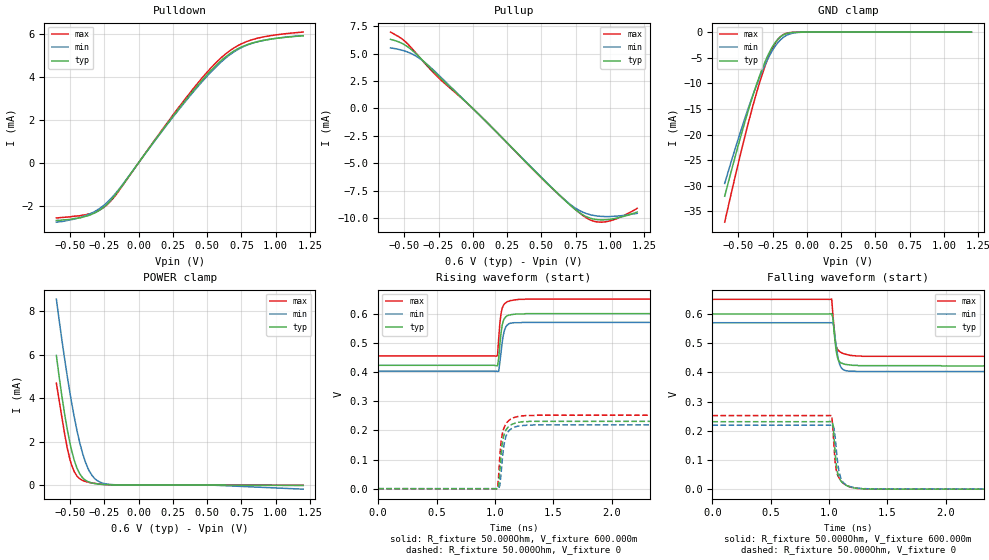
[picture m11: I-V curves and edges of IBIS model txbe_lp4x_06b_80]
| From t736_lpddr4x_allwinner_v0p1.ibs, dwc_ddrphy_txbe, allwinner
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[Model] txbe_lp4x_06b_80
Model_type   I/O
Polarity   Non-Inverting
Enable   Active-High
C_comp   1.525pF   1.517pF   1.532pF
C_comp_pullup   284.856fF   277.095fF   289.907fF
C_comp_pulldown 1.177pF   1.176pF   1.178pF
Vinh = 420.000mV
Vinl = 300.000mV
Vmeas = 360.000mV
Vref = 360.000mV
Rref = 50Ohms
Cref = 0pF
[Model Spec]
Vinh   420.000mV   402.000mV   450.000mV
Vinl   300.000mV   282.000mV   330.000mV
Vmeas   360.000mV   342.000mV   390.000mV
Vref   360.000mV   342.000mV   390.000mV
D_overshoot_ampl_h 0.1 NA   NA
D_overshoot_ampl_l 0.1 NA   NA
D_overshoot_area_l 300.000m NA   NA
D_overshoot_area_h 300.000m NA   NA
[Receiver Thresholds]
Vth = 180.000mV
Vth_min = 171.000mV
Vth_max = 195.000mV
Vinh_ac = 60.000mV
Vinh_dc = 60.000mV
Vinl_ac = -60.000mV
Vinl_dc = -60.000mV
Tslew_ac = 5.000ns
Threshold_sensitivity = 0.5
Reference_supply Pullup_ref
[Temperature Range]   25.000   125.000   -40.000
[Voltage Range]   600.000mV   570.000mV   650.000mV
[GND Clamp Reference]   0.00V   0.00V   0.00V
[C Comp Corner]
| variable   typ   min   max
C_comp 1.525pF   1.532pF   1.517pF
C_comp_pullup 284.856fF   289.907fF   277.095fF
C_comp_pulldown 1.176pF   1.177pF   1.178pF
[Pulldown Reference]   0.00V   0.00V   0.00V
[POWER Clamp Reference]   600.000mV   570.000mV   650.000mV
[Pullup Reference]   600.000mV   570.000mV   650.000mV
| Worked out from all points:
|   slope of the pulldown table from 0 to 0.09 V, typ, clamps not added: 113 ohm
|   slope of the pullup table from 0 to 0.09 V, typ, clamps not added: 81.7 ohm
|   GND clamp passes 1 mA (typ) near -0.20 V on its own axis
|   POWER clamp passes 1 mA (typ) near -0.46 V on its own axis
|   rising waveform, R_fixture 50.000Ohm, V_fixture 600.000m: 20-80 % time 30.2ps typ, 35ps min, 29.3ps max; typ from 0.423 V to 0.6 V
|   rising waveform, R_fixture 50.000Ohm, V_fixture 0: 20-80 % time 38.5ps typ, 40.6ps min, 38.9ps max; typ from 0 V to 0.231 V
|   falling waveform, R_fixture 50.000Ohm, V_fixture 600.000m: 20-80 % time 30.9ps typ, 36.9ps min, 29.1ps max; typ from 0.6 V to 0.423 V
|   falling waveform, R_fixture 50.000Ohm, V_fixture 0: 20-80 % time 38.9ps typ, 42.8ps min, 38.2ps max; typ from 0.231 V to 0 V
[GND Clamp]
-600mV    -32.03mA   -29.54mA   -37.09mA
-520mV    -23.95mA   -22.45mA   -27.77mA
-450mV    -17.29mA   -16.6mA    -20.07mA
-390mV    -12.04mA   -11.97mA   -13.96mA
-350mV    -8.872mA   -9.144mA   -10.26mA
-300mV    -5.434mA   -6.026mA   -6.213mA
-260mV    -3.228mA   -3.945mA   -3.604mA
-230mV    -1.962mA   -2.676mA   -2.109mA
-190mV    -840.1uA   -1.417mA   -811.3uA
-130mV    -154.6uA   -403.6uA   -107.3uA
-40mV     -4.876uA   -22.97uA   -1.917uA
1.2V      1.203uA    9.496uA    358.3nA
[Power Clamp]
-600mV    5.963mA    8.559mA    4.686mA
-560mV    4.101mA    6.693mA    3.134mA
-520mV    2.543mA    4.988mA    1.684mA
-500mV    1.903mA    4.207mA    1.151mA
-470mV    1.147mA    3.144mA    618.5uA
-430mV    519.2uA    1.962mA    289.2uA
-390mV    228.5uA    1.089mA    165.9uA
-340mV    92.83uA    440.3uA    93.34uA
-300mV    48.16uA    193.5uA    55.91uA
-170mV    2.644uA    10.52uA    3.018uA
530mV     -347.6nA   -6.316uA   -66.03nA
1.2V      -23.65uA   -191.6uA   -5.619uA
[Pulldown]
-600mV    -2.7mA     -2.78mA    -2.58mA
-370mV    -2.48mA    -2.43mA    -2.4mA
-280mV    -2.2mA     -2.118mA   -2.194mA
-210mV    -1.807mA   -1.732mA   -1.84mA
-130mV    -1.162mA   -1.128mA   -1.19mA
140mV     1.231mA    1.209mA    1.261mA
370mV     3.142mA    3.088mA    3.229mA
530mV     4.325mA    4.255mA    4.449mA
650mV     5.027mA    4.971mA    5.164mA
750mV     5.412mA    5.382mA    5.559mA
850mV     5.636mA    5.626mA    5.792mA
1.2V      5.936mA    5.94mA     6.109mA
[Pullup]
-600mV    6.286mA    5.512mA    6.948mA
-520mV    5.943mA    5.313mA    6.362mA
-470mV    5.567mA    5.106mA    5.812mA
-340mV    4.048mA    4.09mA     3.966mA
50mV      -607.8uA   -616.6uA   -599.2uA
620mV     -7.74mA    -7.718mA   -7.746mA
730mV     -9.009mA   -8.904mA   -8.981mA
810mV     -9.729mA   -9.468mA   -9.798mA
880mV     -10.06mA   -9.73mA    -10.25mA
970mV     -10.12mA   -9.84mA    -10.31mA
1.08V     -9.88mA    -9.76mA    -9.88mA
1.2V      -9.42mA    -9.54mA    -9.08mA
[Ramp]
R_load=50.000Ohm
dV/dt_r   122.382mV/35.000ps  115.642mV/38.500ps  134.096mV/34.000ps
dV/dt_f   122.380mV/35.500ps  115.642mV/41.000ps  134.095mV/33.500ps
[Rising waveform]
R_fixture=50.000Ohm
V_fixture=600.000m
V_fixture_min=570.000m
V_fixture_max=650.000m
0s        423mV      403mV      455mV
1.013ns   422mV      403mV      454mV
1.023ns   421mV      402mV      457mV
1.033ns   448mV      403mV      516mV
1.043ns   495mV      434mV      568mV
1.063ns   561mV      502mV      619mV
1.083ns   584mV      544mV      634mV
1.103ns   592mV      560mV      640mV
1.203ns   599mV      569mV      649mV
10ns      600mV      570mV      650mV
[Rising waveform]
R_fixture=50.000Ohm
V_fixture=0
0s        60.88uV    526.1uV    14.64uV
1.023ns   -1.464mV   -327.1uV   855.8uV
1.033ns   11.2mV     -192.5uV   48.73mV
1.043ns   60.39mV    12.73mV    115mV
1.053ns   117mV      50.49mV    161mV
1.073ns   177mV      136mV      203mV
1.093ns   200mV      177mV      221mV
1.123ns   214mV      200mV      235mV
1.263ns   230mV      217mV      251mV
10ns      231mV      219mV      252mV
[Falling waveform]
R_fixture=50.000Ohm
V_fixture=600.000m
V_fixture_min=570.000m
V_fixture_max=650.000m
0s        600mV      570mV      650mV
1.023ns   601mV      570mV      651mV
1.033ns   586mV      571mV      598mV
1.043ns   540mV      553mV      551mV
1.053ns   501mV      515mV      508mV
1.073ns   450mV      459mV      478mV
1.093ns   435mV      425mV      470mV
1.123ns   429mV      409mV      464mV
1.283ns   423mV      403mV      455mV
10ns      423mV      403mV      455mV
[Falling waveform]
R_fixture=50.000Ohm
V_fixture=0
0s        231mV      219mV      252mV
1.023ns   233mV      220mV      253mV
1.033ns   222mV      221mV      208mV
1.043ns   177mV      207mV      142mV
1.053ns   122mV      177mV      91.08mV
1.073ns   56.49mV    93.82mV    49.28mV
1.093ns   33.4mV     48.13mV    33.53mV
1.123ns   19.32mV    22.33mV    20.03mV
1.263ns   1.926mV    2.933mV    1.596mV
10ns      66.61uV    526.8uV    17.55uV
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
